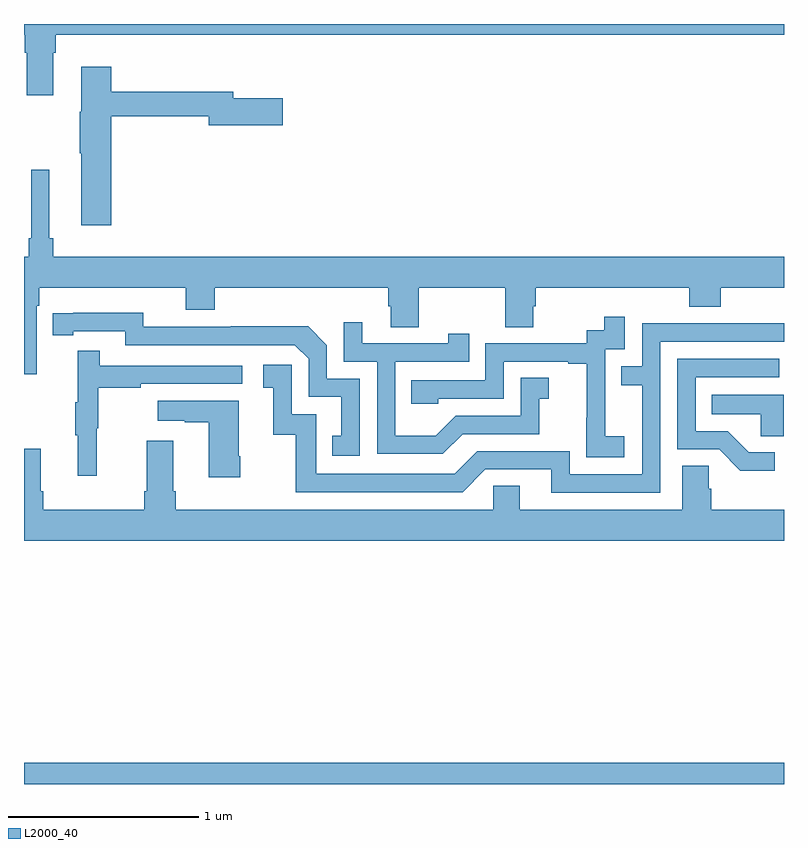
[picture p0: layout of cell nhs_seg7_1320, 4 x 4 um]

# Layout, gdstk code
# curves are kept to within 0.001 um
import gdstk
lib = gdstk.Library(unit=1e-6, precision=1e-09)
def R(c, l, rs):  # rectangles x0, y0, x1, y1
    for r in rs: c.add(gdstk.rectangle(r[:2], r[2:], *l))
def P(c, l, *ps):  # polygons
    for p in ps: c.add(gdstk.Polygon(p, *l))
L2000_40 = (2000, 40)

nhs_seg7_1320 = lib.new_cell('nhs_seg7_1320')
R(nhs_seg7_1320, L2000_40, [(203,1002,207,1002.112)])
P(nhs_seg7_1320, L2000_40, [(203.155,1005.848),(203.168,1005.848),(203.168,1005.944),(207,1005.944),(207,1006),(203,1006),(203,1005.944),(203.003,1005.944),(203.003,1005.848),(203.015,1005.848),(203.015,1005.624),(203.155,1005.624)],
  [(203.459,1005.514),(203.972,1005.514),(203.972,1005.467),(204.361,1005.467),(204.361,1005.609),(204.1,1005.609),(204.1,1005.643),(203.459,1005.643),(203.459,1005.775),(203.3,1005.775),(203.3,1005.537),(203.293,1005.537),(203.293,1005.319),(203.3,1005.319),(203.3,1004.94),(203.459,1004.94)],
  [(203.153,1004.872),(203.134,1004.872),(203.134,1005.232),(203.037,1005.232),(203.037,1004.872),(203.024,1004.872),(203.024,1004.776),(203,1004.776),(203,1004.157),(203.067,1004.157),(203.067,1004.516),(203.081,1004.516),(203.081,1004.612),(203.852,1004.612),(203.852,1004.495),(204.005,1004.495),(204.005,1004.612),(204.917,1004.612),(204.917,1004.514),(204.929,1004.514),(204.929,1004.404),(205.077,1004.404),(205.077,1004.612),(205.534,1004.612),(205.534,1004.404),(205.681,1004.404),(205.681,1004.514),(205.694,1004.514),(205.694,1004.612),(206.501,1004.612),(206.501,1004.513),(206.666,1004.513),(206.666,1004.612),(207,1004.612),(207,1004.776),(203.153,1004.776)],
  [(204.768,1004.133),(204.594,1004.133),(204.594,1004.31),(204.496,1004.408),(204.088,1004.408),(204.088,1004.406),(203.628,1004.406),(203.628,1004.479),(203.152,1004.478),(203.152,1004.362),(203.26,1004.362),(203.26,1004.382),(203.532,1004.382),(203.532,1004.31),(204.426,1004.31),(204.498,1004.238),(204.498,1004.037),(204.671,1004.037),(204.671,1003.833),(204.622,1003.833),(204.622,1003.728),(204.768,1003.728)],
  [(206.158,1003.831),(206.06,1003.831),(206.06,1004.06),(206.058,1004.06),(206.058,1004.289),(206.163,1004.289),(206.163,1004.458),(206.055,1004.458),(206.055,1004.388),(205.962,1004.388),(205.962,1004.319),(205.428,1004.319),(205.428,1004.124),(205.039,1004.124),(205.039,1004.001),(205.179,1004.001),(205.179,1004.028),(205.524,1004.028),(205.524,1004.223),(205.865,1004.223),(205.865,1004.211),(205.961,1004.211),(205.961,1003.927),(205.96,1003.927),(205.96,1003.721),(206.158,1003.721)],
  [(205.309,1003.842),(205.713,1003.842),(205.713,1004.027),(205.762,1004.027),(205.762,1004.137),(205.614,1004.137),(205.614,1003.938),(205.272,1003.938),(205.168,1003.834),(204.954,1003.834),(204.954,1004.223),(205.343,1004.223),(205.343,1004.371),(205.232,1004.371),(205.232,1004.319),(204.781,1004.319),(204.781,1004.431),(204.684,1004.431),(204.684,1004.223),(204.858,1004.223),(204.858,1003.737),(205.204,1003.737)],
  [(206.349,1004.328),(207,1004.328),(207,1004.426),(206.749,1004.426),(206.749,1004.424),(206.253,1004.424),(206.253,1004.199),(206.143,1004.199),(206.143,1004.098),(206.253,1004.098),(206.253,1003.629),(205.872,1003.629),(205.872,1003.752),(205.386,1003.752),(205.266,1003.632),(204.537,1003.632),(204.537,1003.947),(204.408,1003.947),(204.408,1004.206),(204.258,1004.206),(204.258,1004.085),(204.311,1004.085),(204.311,1003.839),(204.429,1003.839),(204.429,1003.536),(205.308,1003.536),(205.428,1003.656),(205.775,1003.656),(205.775,1003.533),(206.349,1003.533)],
  [(203.384,1003.872),(203.392,1003.872),(203.392,1004.086),(203.615,1004.086),(203.615,1004.106),(204.148,1004.106),(204.148,1004.202),(203.399,1004.202),(203.399,1004.281),(203.282,1004.281),(203.282,1004.009),(203.271,1004.009),(203.271,1003.835),(203.282,1003.835),(203.282,1003.623),(203.384,1003.623)],
  [(206.95,1003.746),(206.815,1003.746),(206.704,1003.857),(206.535,1003.857),(206.535,1004.142),(206.974,1004.142),(206.974,1004.238),(206.439,1004.238),(206.439,1003.761),(206.658,1003.761),(206.771,1003.649),(206.95,1003.649)],
  [(206.998,1004.05),(206.62,1004.05),(206.62,1003.946),(206.877,1003.946),(206.877,1003.831),(206.998,1003.831)],
  [(204.138,1003.726),(204.13,1003.726),(204.13,1004.017),(203.703,1004.017),(203.703,1003.913),(203.846,1003.913),(203.846,1003.903),(203.972,1003.903),(203.972,1003.614),(204.138,1003.614)],
  [(207,1003.444),(206.618,1003.444),(206.618,1003.553),(206.604,1003.553),(206.604,1003.676),(206.465,1003.676),(206.465,1003.444),(205.609,1003.444),(205.609,1003.571),(205.47,1003.571),(205.47,1003.444),(203.798,1003.444),(203.798,1003.54),(203.785,1003.54),(203.785,1003.807),(203.645,1003.807),(203.645,1003.54),(203.633,1003.54),(203.633,1003.444),(203.102,1003.444),(203.102,1003.54),(203.089,1003.54),(203.089,1003.765),(203,1003.765),(203,1003.28),(207,1003.28)])

lib.write_gds('nhs_seg7_1320.gds')
